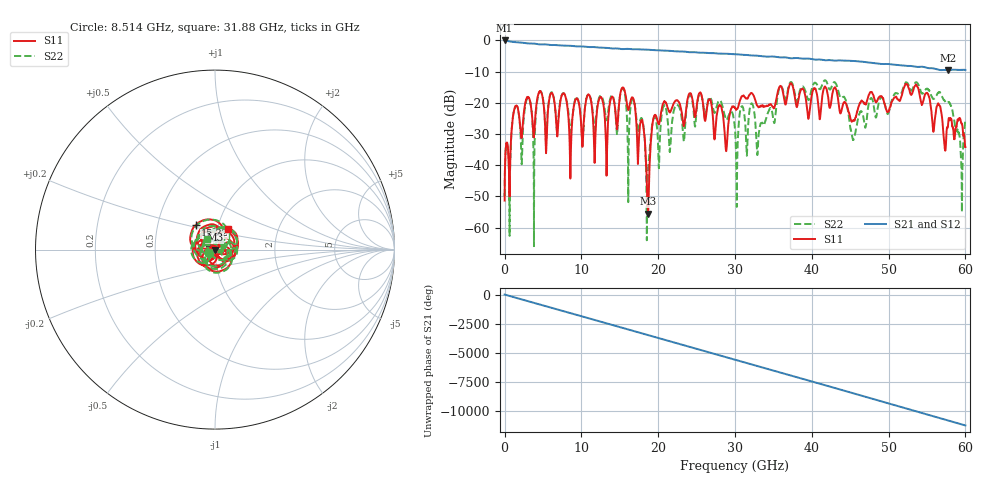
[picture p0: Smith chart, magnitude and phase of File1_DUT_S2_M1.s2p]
! 10/25/2016 5:25:14 PM
! D:\S2_M1.S2P
! CHANNEL.1
! TR.MEASUREMENT
! CORRECTED.DATA
# GHZ S RI R 50.0
! FREQ.GHZ  S11RE  S11IM  S21RE  S21IM  S12RE  S12IM  S22RE  S22IM
!; PortSelection: Port_12
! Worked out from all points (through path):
!   10000 points, 6 MHz to 60 GHz, reference 50 ohm
!   highest |S21| = -0.02 dB at 6 MHz (marker M1); lowest = -9.5 dB at 57.74 GHz (marker M2)
!   group delay of S21, straight-line fit = 519 ps
!   lowest |S11| = -55.5 dB at 18.7 GHz (marker M3), VSWR 1.00, Z = 49.9 - j0.104 ohm
!   |S11| at or under -10 dB: start of sweep to end of sweep
!   |S22| runs from -65.9 to -12.8 dB; largest |S21 - S12| = 0.0032
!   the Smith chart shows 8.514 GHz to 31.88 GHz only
!   S11 on the Smith chart (normalised r, x): 8.514 GHz: 0.97, +0.01; 15.32 GHz: 0.78, +0.22; 31.88 GHz: 1.13, +0.26
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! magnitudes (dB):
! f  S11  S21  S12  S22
! 6 MHz  -51.3  0.0  0.0  -49.9
! 2.994 GHz  -18.2  -0.9  -0.9  -18.5
! 3.816 GHz  -30.8  -1.0  -1.0  -49.7
! 4.566 GHz  -16.3  -1.3  -1.3  -16.4
! 7.734 GHz  -17.0  -1.7  -1.7  -17.0
! 8.514 GHz  -37.3  -1.7  -1.7  -28.2
! 10.01 GHz  -28.3  -1.9  -1.9  -28.1
! 15.32 GHz  -15.2  -2.8  -2.8  -15.3
! 17.96 GHz  -26.0  -2.9  -2.9  -25.6
! 18.7 GHz  -55.5  -3.0  -3.0  -41.2
! 19.39 GHz  -25.0  -3.1  -3.1  -25.1
! 20 GHz  -26.6  -3.2  -3.2  -34.6
! 25.46 GHz  -16.7  -4.0  -3.9  -16.8
! 28.84 GHz  -35.3  -4.3  -4.3  -25.4
! 30.01 GHz  -21.6  -4.4  -4.4  -28.5
! 31.88 GHz  -17.4  -4.8  -4.8  -22.6
! 40 GHz  -17.5  -6.0  -6.0  -15.5
! 45.4 GHz  -25.6  -6.6  -6.6  -31.8
! 50 GHz  -22.8  -7.6  -7.6  -23.1
! 57.74 GHz  -27.1  -9.5  -9.5  -19.8
! 59.44 GHz  -26.3  -9.4  -9.4  -37.6
! 60 GHz  -34.1  -9.5  -9.5  -25.3
